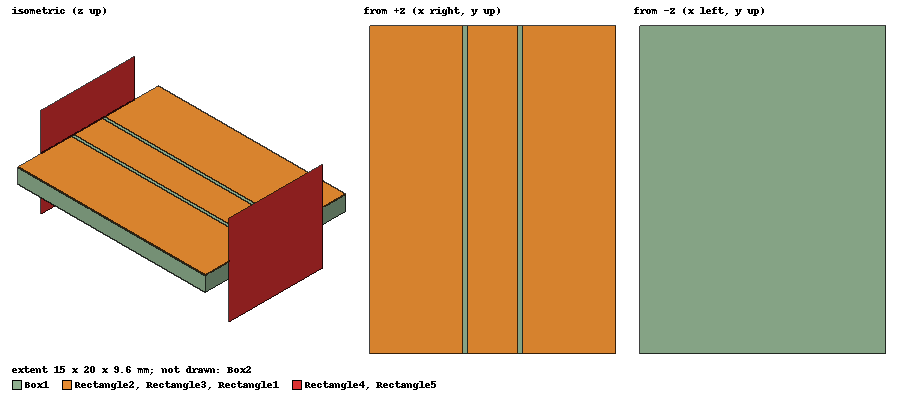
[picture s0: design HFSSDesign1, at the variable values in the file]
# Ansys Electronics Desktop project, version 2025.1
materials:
  vacuum: permittivity=1
  FR-4
  FR4_epoxy: permittivity=4.4 dielectric_loss_tangent=0.02
  air: permittivity=1.0006 permeability=1.0000004

design HFSSDesign1 (HFSS, HFSS Terminal Network, model units mm)
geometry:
  Box1 [FR4_epoxy] = box(corner=(-7.5mm, 0mm, 0mm), size=(15mm, 20mm, 1.6mm))
  Rectangle1 = rectangle(corner=(-1.5mm, 0mm, 1.6mm), x_size=3mm, y_size=20mm)
  Rectangle2 = rectangle(corner=(-1.8mm, 0mm, 1.6mm), x_size=-5.7mm, y_size=20mm)
  Rectangle3 = rectangle(corner=(1.8mm, 0mm, 1.6mm), x_size=5.7mm, y_size=20mm)
  Rectangle4 = rectangle(corner=(-5mm, 0mm, -4mm), z_size=9.6mm, x_size=10mm)
  Rectangle5 = rectangle(corner=(-5mm, 20mm, -4mm), z_size=9.6mm, x_size=10mm)
  Box2 [air] = box(corner=(-10mm, 0mm, -10mm), size=(20mm, 20mm, 20mm))
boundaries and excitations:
  PerfE1: Perfect E Objects=[Rectangle1, Rectangle2, Rectangle3]
  Rad1: Radiation Objects=Box2
  1: Wave Port Objects=Rectangle4 WavePortType=Modal NumModes=1 Modes{Mode1{CharImp=Zpi}}
  2: Wave Port Objects=Rectangle5 WavePortType=Modal NumModes=1 Modes{Mode1{CharImp=Zpi}}
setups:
  Setup1: HfssDriven MultipleAdaptiveFreqsSetup{Low=1GHz High=10GHz} MaxDeltaS=0.02 MaximumPasses=6 MinimumPasses=1 MinimumConvergedPasses=1 PercentRefinement=30 BasisOrder=1 PortAccuracy=2 DrivenSolverType="Direct Solver"
    sweep Sweep: 1GHz to 10GHz, 401 points; Type=Interpolating InterpTolerance=0.5 InterpMaxSolns=250 PassivityErrorTolerance=0.0001
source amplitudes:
  1:1: 1V 0deg
  2:1: 0V 0deg
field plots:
  Vector_H1: H Field over Rectangle2.face Rectangle1.face Rectangle3.face on Setup1 : LastAdaptive at Freq=5.5GHz Phase=0deg
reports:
  S Parameter Plot1: dB(S(1,1)), dB(S(2,1)), dB(S(1,2)), dB(S(2,2)) vs Freq on Setup1 : Sweep
  Port Zo Plot1: re(Zo(1)), re(Zo(2)) vs Freq on Setup1 : Sweep
